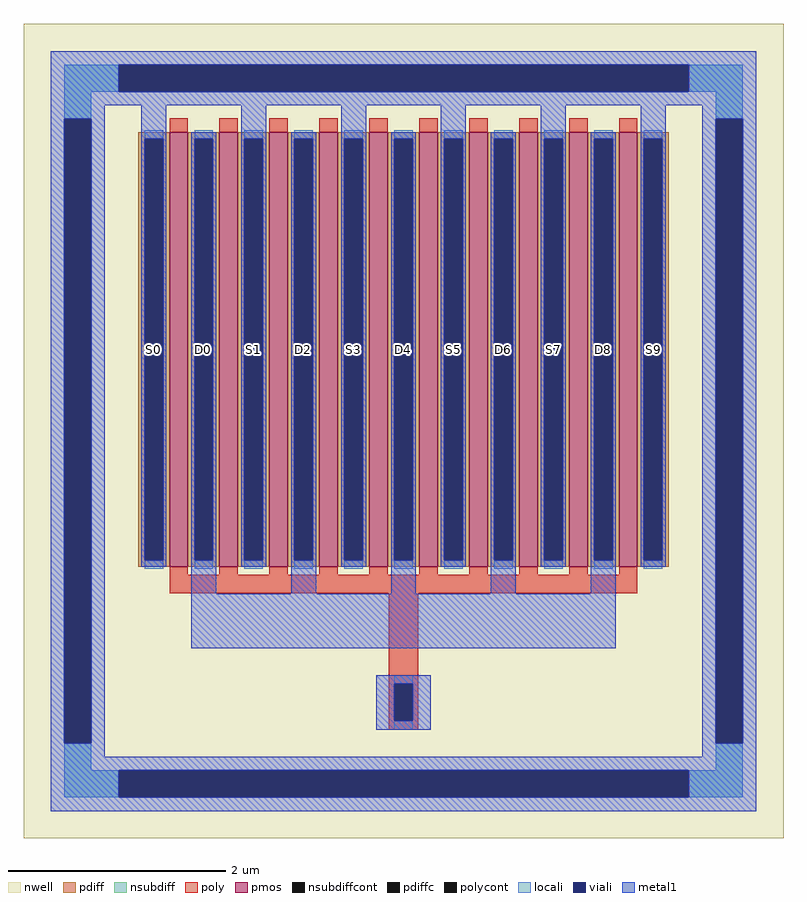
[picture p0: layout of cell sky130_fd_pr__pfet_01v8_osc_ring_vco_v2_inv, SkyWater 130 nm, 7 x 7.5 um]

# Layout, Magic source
magic
tech sky130A
magscale 1 2
<< nwell >>
rect -292 -5561 1108 -4061
<< pmos >>
rect -23 -5061 11 -4261
rect 69 -5061 103 -4261
rect 161 -5061 195 -4261
rect 253 -5061 287 -4261
rect 345 -5061 379 -4261
rect 437 -5061 471 -4261
rect 529 -5061 563 -4261
rect 621 -5061 655 -4261
rect 713 -5061 747 -4261
rect 805 -5061 839 -4261
<< pdiff >>
rect -81 -4273 -23 -4261
rect -81 -5049 -69 -4273
rect -35 -5049 -23 -4273
rect -81 -5061 -23 -5049
rect 11 -4273 69 -4261
rect 11 -5049 23 -4273
rect 57 -5049 69 -4273
rect 11 -5061 69 -5049
rect 103 -4273 161 -4261
rect 103 -5049 115 -4273
rect 149 -5049 161 -4273
rect 103 -5061 161 -5049
rect 195 -4273 253 -4261
rect 195 -5049 207 -4273
rect 241 -5049 253 -4273
rect 195 -5061 253 -5049
rect 287 -4273 345 -4261
rect 287 -5049 299 -4273
rect 333 -5049 345 -4273
rect 287 -5061 345 -5049
rect 379 -4273 437 -4261
rect 379 -5049 391 -4273
rect 425 -5049 437 -4273
rect 379 -5061 437 -5049
rect 471 -4273 529 -4261
rect 471 -5049 483 -4273
rect 517 -5049 529 -4273
rect 471 -5061 529 -5049
rect 563 -4273 621 -4261
rect 563 -5049 575 -4273
rect 609 -5049 621 -4273
rect 563 -5061 621 -5049
rect 655 -4273 713 -4261
rect 655 -5049 667 -4273
rect 701 -5049 713 -4273
rect 655 -5061 713 -5049
rect 747 -4273 805 -4261
rect 747 -5049 759 -4273
rect 793 -5049 805 -4273
rect 747 -5061 805 -5049
rect 839 -4273 897 -4261
rect 839 -5049 851 -4273
rect 885 -5049 897 -4273
rect 839 -5061 897 -5049
<< pdiffc >>
rect -69 -5049 -35 -4273
rect 23 -5049 57 -4273
rect 115 -5049 149 -4273
rect 207 -5049 241 -4273
rect 299 -5049 333 -4273
rect 391 -5049 425 -4273
rect 483 -5049 517 -4273
rect 575 -5049 609 -4273
rect 667 -5049 701 -4273
rect 759 -5049 793 -4273
rect 851 -5049 885 -4273
<< nsubdiff >>
rect -217 -4186 -117 -4136
rect 933 -4186 1033 -4136
rect -217 -4236 -167 -4186
rect 983 -4236 1033 -4186
rect -217 -5436 -167 -5386
rect 983 -5436 1033 -5386
rect -217 -5486 -117 -5436
rect 933 -5486 1033 -5436
<< nsubdiffcont >>
rect -117 -4186 933 -4136
rect -217 -5386 -167 -4236
rect 983 -5386 1033 -4236
rect -117 -5486 933 -5436
<< poly >>
rect -23 -4261 11 -4235
rect 69 -4261 103 -4235
rect 161 -4261 195 -4235
rect 253 -4261 287 -4235
rect 345 -4261 379 -4235
rect 437 -4261 471 -4235
rect 529 -4261 563 -4235
rect 621 -4261 655 -4235
rect 713 -4261 747 -4235
rect 805 -4261 839 -4235
rect -23 -5076 11 -5061
rect 69 -5076 103 -5061
rect 161 -5076 195 -5061
rect 253 -5076 287 -5061
rect 345 -5076 379 -5061
rect 437 -5076 471 -5061
rect 529 -5076 563 -5061
rect 621 -5076 655 -5061
rect 713 -5076 747 -5061
rect 805 -5076 839 -5061
rect -23 -5110 839 -5076
rect 381 -5277 435 -5110
rect 381 -5345 391 -5277
rect 425 -5345 435 -5277
rect 381 -5361 435 -5345
<< polycont >>
rect 391 -5345 425 -5277
<< locali >>
rect -217 -4186 -117 -4136
rect 933 -4186 1033 -4136
rect -217 -4236 -167 -4186
rect 983 -4236 1033 -4186
rect -69 -4273 -35 -4257
rect -69 -5065 -35 -5049
rect 23 -4273 57 -4257
rect 23 -5065 57 -5049
rect 115 -4273 149 -4257
rect 115 -5065 149 -5049
rect 207 -4273 241 -4257
rect 207 -5065 241 -5049
rect 299 -4273 333 -4257
rect 299 -5065 333 -5049
rect 391 -4273 425 -4257
rect 391 -5065 425 -5049
rect 483 -4273 517 -4257
rect 483 -5065 517 -5049
rect 575 -4273 609 -4257
rect 575 -5065 609 -5049
rect 667 -4273 701 -4257
rect 667 -5065 701 -5049
rect 759 -4273 793 -4257
rect 759 -5065 793 -5049
rect 851 -4273 885 -4257
rect 851 -5065 885 -5049
rect 391 -5277 425 -5261
rect 391 -5361 425 -5345
rect -217 -5436 -167 -5386
rect 983 -5436 1033 -5386
rect -217 -5486 -117 -5436
rect 933 -5486 1033 -5436
<< viali >>
rect -117 -4186 933 -4136
rect -217 -5386 -167 -4236
rect -69 -5049 -35 -4273
rect 23 -5049 57 -4273
rect 115 -5049 149 -4273
rect 207 -5049 241 -4273
rect 299 -5049 333 -4273
rect 391 -5049 425 -4273
rect 483 -5049 517 -4273
rect 575 -5049 609 -4273
rect 667 -5049 701 -4273
rect 759 -5049 793 -4273
rect 851 -5049 885 -4273
rect 391 -5345 425 -5277
rect 983 -5386 1033 -4236
rect -117 -5486 933 -5436
<< metal1 >>
rect -242 -4136 1058 -4111
rect -242 -4186 -117 -4136
rect 933 -4186 1058 -4136
rect -242 -4211 1058 -4186
rect -242 -4236 -142 -4211
rect -242 -5386 -217 -4236
rect -167 -5386 -142 -4236
rect -75 -4273 -29 -4211
rect -75 -5049 -69 -4273
rect -35 -5049 -29 -4273
rect -75 -5061 -29 -5049
rect 17 -4273 63 -4261
rect 17 -5049 23 -4273
rect 57 -5049 63 -4273
rect 17 -5111 63 -5049
rect 109 -4273 155 -4211
rect 109 -5049 115 -4273
rect 149 -5049 155 -4273
rect 109 -5061 155 -5049
rect 201 -4273 247 -4261
rect 201 -5049 207 -4273
rect 241 -5049 247 -4273
rect 201 -5111 247 -5049
rect 293 -4273 339 -4211
rect 293 -5049 299 -4273
rect 333 -5049 339 -4273
rect 293 -5061 339 -5049
rect 385 -4273 431 -4261
rect 385 -5049 391 -4273
rect 425 -5049 431 -4273
rect 385 -5111 431 -5049
rect 477 -4273 523 -4211
rect 477 -5049 483 -4273
rect 517 -5049 523 -4273
rect 477 -5061 523 -5049
rect 569 -4273 615 -4261
rect 569 -5049 575 -4273
rect 609 -5049 615 -4273
rect 569 -5111 615 -5049
rect 661 -4273 707 -4211
rect 661 -5049 667 -4273
rect 701 -5049 707 -4273
rect 661 -5061 707 -5049
rect 753 -4273 799 -4261
rect 753 -5049 759 -4273
rect 793 -5049 799 -4273
rect 753 -5111 799 -5049
rect 845 -4273 891 -4211
rect 845 -5049 851 -4273
rect 885 -5049 891 -4273
rect 845 -5061 891 -5049
rect 958 -4236 1058 -4211
rect 17 -5211 799 -5111
rect 358 -5277 458 -5261
rect 358 -5345 391 -5277
rect 425 -5345 458 -5277
rect 358 -5361 458 -5345
rect -242 -5411 -142 -5386
rect 958 -5386 983 -4236
rect 1033 -5386 1058 -4236
rect 958 -5411 1058 -5386
rect -242 -5436 1058 -5411
rect -242 -5486 -117 -5436
rect 933 -5486 1058 -5436
rect -242 -5511 1058 -5486
<< labels >>
rlabel pdiffc 40 -4661 40 -4661 0 D0
port 64 nsew
rlabel pdiffc -52 -4661 -52 -4661 0 S0
port 65 nsew
rlabel pdiffc 40 -4661 40 -4661 0 D1
port 67 nsew
rlabel pdiffc 132 -4661 132 -4661 0 S1
port 68 nsew
rlabel pdiffc 224 -4661 224 -4661 0 D2
port 70 nsew
rlabel pdiffc 132 -4661 132 -4661 0 S2
port 71 nsew
rlabel pdiffc 224 -4661 224 -4661 0 D3
port 73 nsew
rlabel pdiffc 316 -4661 316 -4661 0 S3
port 74 nsew
rlabel pdiffc 316 -4661 316 -4661 0 S4
port 77 nsew
rlabel pdiffc 408 -4661 408 -4661 0 D4
port 76 nsew
rlabel pdiffc 408 -4661 408 -4661 0 D5
port 79 nsew
rlabel pdiffc 500 -4661 500 -4661 0 S5
port 80 nsew
rlabel pdiffc 592 -4661 592 -4661 0 D6
port 82 nsew
rlabel pdiffc 500 -4661 500 -4661 0 S6
port 83 nsew
rlabel pdiffc 684 -4661 684 -4661 0 S7
port 86 nsew
rlabel pdiffc 592 -4661 592 -4661 0 D7
port 85 nsew
rlabel pdiffc 776 -4661 776 -4661 0 D8
port 88 nsew
rlabel pdiffc 684 -4661 684 -4661 0 S8
port 89 nsew
rlabel pdiffc 776 -4661 776 -4661 0 D9
port 91 nsew
rlabel pdiffc 868 -4661 868 -4661 0 S9
port 92 nsew
<< end >>
